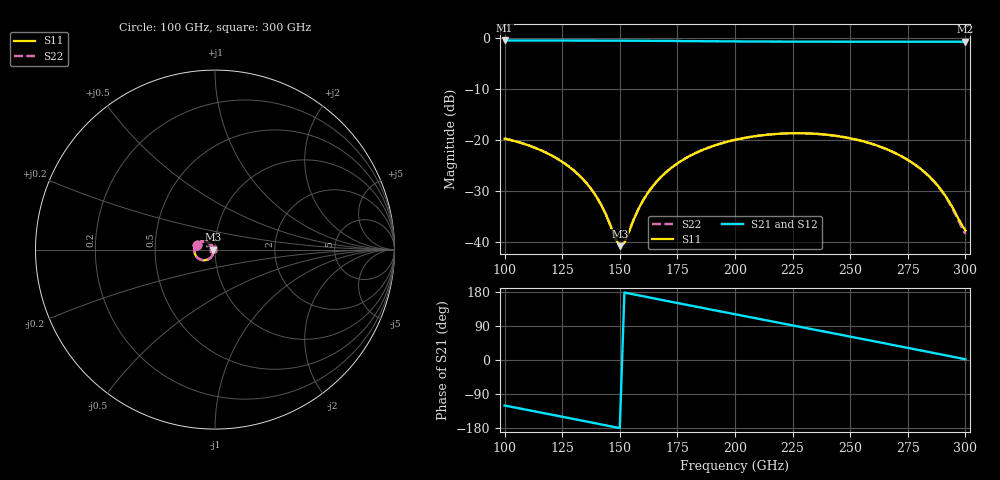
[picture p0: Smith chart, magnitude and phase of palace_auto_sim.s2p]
#  GHZ S DB R 50
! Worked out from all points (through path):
!   101 points, 100 GHz to 300 GHz, reference 50 ohm
!   highest |S21| = -0.55 dB at 100 GHz (marker M1); lowest = -0.8 dB at 300 GHz (marker M2)
!   group delay of S21, straight-line fit = 3.3 ps
!   lowest |S11| = -40.9 dB at 150 GHz (marker M3), VSWR 1.02, Z = 49.1 - j0.00665 ohm
!   |S11| at or under -10 dB: start of sweep to end of sweep
!   |S22| runs from -40.7 to -18.7 dB; largest |S21 - S12| = 1.1e-14
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100  -19.81 164.0  -0.55 -120.1  -0.55 -120.1  -19.80 164.3
120  -23.02 141.7  -0.57 -143.8  -0.57 -143.8  -23.00 142.0
128  -25.32 134.1  -0.57 -153.3  -0.57 -153.3  -25.30 134.5
134  -27.77 129.9  -0.58 -160.5  -0.58 -160.5  -27.74 130.3
142  -32.89 130.7  -0.58 -170.1  -0.58 -170.1  -32.83 131.2
148  -39.32 155.8  -0.59 -177.3  -0.59 -177.3  -39.17 156.3
150  -40.90 -179.6  -0.60 -179.7  -0.60 -179.7  -40.73 -179.6
152  -40.24 -151.6  -0.60 177.9  -0.60 177.9  -40.12 -152.1
156  -35.72 -122.8  -0.61 173.1  -0.61 173.1  -35.69 -123.2
160  -32.00 -115.4  -0.62 168.3  -0.62 168.3  -31.99 -115.6
168  -27.27 -116.2  -0.64 158.8  -0.64 158.8  -27.27 -116.2
174  -24.98 -120.7  -0.66 151.6  -0.66 151.6  -24.98 -120.6
182  -22.83 -128.2  -0.68 142.1  -0.68 142.1  -22.83 -128.0
200  -20.05 -146.7  -0.74 120.8  -0.74 120.8  -20.05 -146.5
218  -18.89 -165.6  -0.77 99.6  -0.77 99.6  -18.88 -165.4
234  -18.83 177.4  -0.79 80.7  -0.79 80.7  -18.83 177.6
250  -19.75 160.4  -0.80 61.7  -0.80 61.7  -19.75 160.5
268  -22.31 142.3  -0.80 40.3  -0.80 40.3  -22.32 142.3
278  -24.86 134.0  -0.80 28.4  -0.80 28.4  -24.89 133.7
286  -28.00 130.2  -0.80 18.8  -0.80 18.8  -28.05 129.6
292  -31.49 132.7  -0.81 11.6  -0.81 11.6  -31.63 131.5
300  -37.83 167.8  -0.81 2.0  -0.81 2.0  -38.46 167.2
